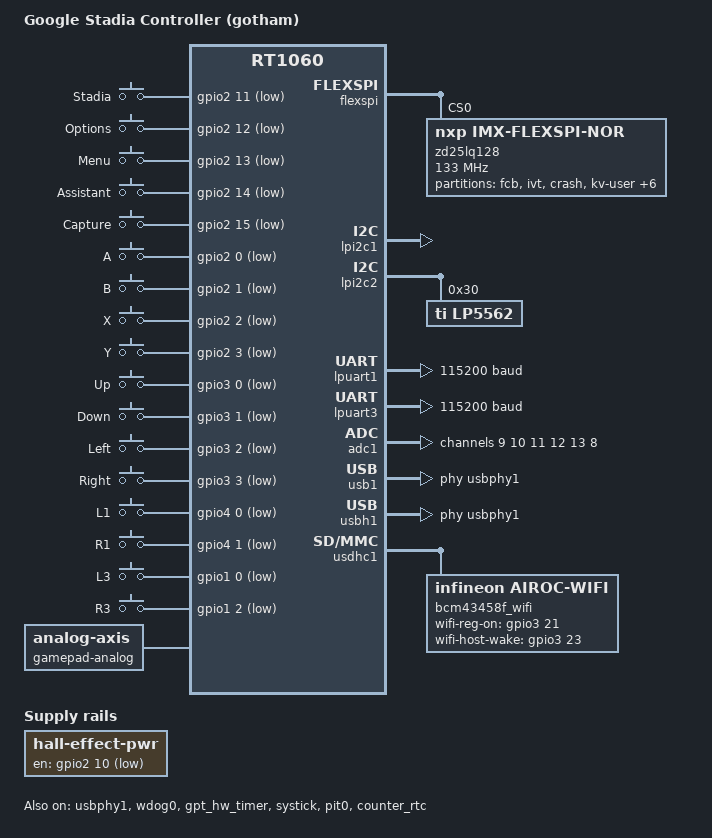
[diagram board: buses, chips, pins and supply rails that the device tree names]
/*
 * Copyright (c) 2026 Thomas Hebb
 *
 * SPDX-License-Identifier: Apache-2.0
 */

/dts-v1/;

#include <nxp/imxrt/nxp_rt1060.dtsi>
#include "google_gotham-pinctrl.dtsi"

#include <zephyr/dt-bindings/adc/adc.h>
#include <zephyr/dt-bindings/input/input-event-codes.h>

/ {
	model = "Google Stadia Controller (gotham)";
	compatible = "google,gotham";

	chosen {
		zephyr,itcm = &itcm;
		zephyr,dtcm = &dtcm;
		zephyr,console = &lpuart1;
		zephyr,shell-uart = &lpuart1;
		zephyr,flash-controller = &zd25lq128;
		zephyr,bt-hci = &bt_hci;
	};

	aliases {
		led0 = &lp5562;
		sw0 = &stadia_button;
		watchdog0 = &wdog0;
		sdhc0 = &usdhc1;
		rtc = &counter_rtc;
	};

	gamepad-digital {
		compatible = "gpio-keys";

		stadia_button: button-stadia {
			label = "Stadia";
			gpios = <&gpio2 11 (GPIO_PULL_UP | GPIO_ACTIVE_LOW)>;
			zephyr,code = <INPUT_BTN_MODE>;
		};

		button-options {
			label = "Options";
			gpios = <&gpio2 12 (GPIO_PULL_UP | GPIO_ACTIVE_LOW)>;
			zephyr,code = <INPUT_BTN_SELECT>;
		};

		button-menu {
			label = "Menu";
			gpios = <&gpio2 13 (GPIO_PULL_UP | GPIO_ACTIVE_LOW)>;
			zephyr,code = <INPUT_BTN_START>;
		};

		button-assistant {
			label = "Assistant";
			gpios = <&gpio2 14 (GPIO_PULL_UP | GPIO_ACTIVE_LOW)>;
			zephyr,code = <INPUT_BTN_TASK>;
		};

		button-capture {
			label = "Capture";
			gpios = <&gpio2 15 (GPIO_PULL_UP | GPIO_ACTIVE_LOW)>;
			zephyr,code = <INPUT_BTN_EXTRA>;
		};

		button-a {
			label = "A";
			gpios = <&gpio2 0 (GPIO_PULL_UP | GPIO_ACTIVE_LOW)>;
			zephyr,code = <INPUT_BTN_SOUTH>;
		};

		button-b {
			label = "B";
			gpios = <&gpio2 1 (GPIO_PULL_UP | GPIO_ACTIVE_LOW)>;
			zephyr,code = <INPUT_BTN_EAST>;
		};

		button-x {
			label = "X";
			gpios = <&gpio2 2 (GPIO_PULL_UP | GPIO_ACTIVE_LOW)>;
			zephyr,code = <INPUT_BTN_WEST>;
		};

		button-y {
			label = "Y";
			gpios = <&gpio2 3 (GPIO_PULL_UP | GPIO_ACTIVE_LOW)>;
			zephyr,code = <INPUT_BTN_NORTH>;
		};

		dpad-up {
			label = "Up";
			gpios = <&gpio3 0 (GPIO_PULL_UP | GPIO_ACTIVE_LOW)>;
			zephyr,code = <INPUT_BTN_DPAD_UP>;
		};

		dpad-down {
			label = "Down";
			gpios = <&gpio3 1 (GPIO_PULL_UP | GPIO_ACTIVE_LOW)>;
			zephyr,code = <INPUT_BTN_DPAD_DOWN>;
		};

		dpad-left {
			label = "Left";
			gpios = <&gpio3 2 (GPIO_PULL_UP | GPIO_ACTIVE_LOW)>;
			zephyr,code = <INPUT_BTN_DPAD_LEFT>;
		};

		dpad-right {
			label = "Right";
			gpios = <&gpio3 3 (GPIO_PULL_UP | GPIO_ACTIVE_LOW)>;
			zephyr,code = <INPUT_BTN_DPAD_RIGHT>;
		};

		button-l1 {
			label = "L1";
			gpios = <&gpio4 0 (GPIO_PULL_UP | GPIO_ACTIVE_LOW)>;
			zephyr,code = <INPUT_BTN_TL>;
		};

		button-r1 {
			label = "R1";
			gpios = <&gpio4 1 (GPIO_PULL_UP | GPIO_ACTIVE_LOW)>;
			zephyr,code = <INPUT_BTN_TR>;
		};

		button-l3 {
			label = "L3";
			gpios = <&gpio1 0 (GPIO_PULL_UP | GPIO_ACTIVE_LOW)>;
			zephyr,code = <INPUT_BTN_THUMBL>;
		};

		button-r3 {
			label = "R3";
			gpios = <&gpio1 2 (GPIO_PULL_UP | GPIO_ACTIVE_LOW)>;
			zephyr,code = <INPUT_BTN_THUMBR>;
		};
	};

	gamepad-analog {
		compatible = "analog-axis";
		poll-period-ms = <15>;

		axis-r3-x {
			io-channels = <&adc1 9>;
			in-deadzone = <200>;
			in-min = <0>;
			in-max = <3300>;
			zephyr,axis = <INPUT_ABS_RX>;
		};

		axis-r3-y {
			io-channels = <&adc1 10>;
			in-deadzone = <200>;
			in-min = <0>;
			in-max = <3300>;
			zephyr,axis = <INPUT_ABS_RY>;
		};

		axis-l3-x {
			io-channels = <&adc1 11>;
			in-deadzone = <200>;
			in-min = <0>;
			in-max = <3300>;
			zephyr,axis = <INPUT_ABS_X>;
		};

		axis-l3-y {
			io-channels = <&adc1 12>;
			in-deadzone = <200>;
			in-min = <0>;
			in-max = <3300>;
			zephyr,axis = <INPUT_ABS_Y>;
		};

		axis-l2 {
			io-channels = <&adc1 13>;
			in-min = <0>;
			in-max = <3300>;
			zephyr,axis = <INPUT_ABS_BRAKE>;
		};

		axis-r2 {
			io-channels = <&adc1 8>;
			in-min = <0>;
			in-max = <3300>;
			zephyr,axis = <INPUT_ABS_GAS>;
		};
	};

	hall-effect-pwr {
		compatible = "regulator-fixed";
		regulator-name = "hall-effect-pwr";
		enable-gpios = <&gpio2 10 GPIO_ACTIVE_LOW>;
		regulator-boot-on;
	};
};

&flexram {
	/*
	 * Reset FlexRAM to default layout (copied from fuses) because Google's
	 * bootloader sets a different layout and IOMUXC_GPR registers aren't
	 * reset when resetting into SDP from there.
	 */
	flexram,bank-spec = <FLEXRAM_OCRAM>,
			    <FLEXRAM_OCRAM>,
			    <FLEXRAM_OCRAM>,
			    <FLEXRAM_OCRAM>,
			    <FLEXRAM_DTCM>,
			    <FLEXRAM_DTCM>,
			    <FLEXRAM_ITCM>,
			    <FLEXRAM_ITCM>,
			    <FLEXRAM_ITCM>,
			    <FLEXRAM_ITCM>,
			    <FLEXRAM_DTCM>,
			    <FLEXRAM_DTCM>,
			    <FLEXRAM_OCRAM>,
			    <FLEXRAM_OCRAM>,
			    <FLEXRAM_OCRAM>,
			    <FLEXRAM_OCRAM>;
};

&flexspi {
	reg = <0x402a8000 0x4000>, <0x60000000 DT_SIZE_M(16)>;
	pinctrl-0 = <&pinmux_flexspi>;
	pinctrl-names = "default";
	ahb-prefetch;
	ahb-read-addr-opt;
	rx-clock-source = <1>;

	status = "okay";

	zd25lq128: zd25lq128@0 {
		compatible = "nxp,imx-flexspi-nor";
		reg = <0>;
		ranges = <0x0 0x60000000 DT_SIZE_M(16)>;
		size = <DT_SIZE_M(16 * 8)>;
		#address-cells = <1>;
		#size-cells = <1>;

		spi-max-frequency = <DT_FREQ_M(133)>;
		jedec-id = [c8 60 18];
		erase-block-size = <DT_SIZE_K(4)>;
		write-block-size = <1>;

		status = "okay";

		partitions {
			compatible = "fixed-partitions";
			ranges;
			#address-cells = <1>;
			#size-cells = <1>;

			/* Flash Configuration Block */
			partition@0 {
				label = "fcb";
				reg = <0x000000 DT_SIZE_K(4)>;
			};

			/* Image Vector Table */
			partition@1000 {
				label = "ivt";
				reg = <0x001000 DT_SIZE_K(4)>;
			};

			/* Encrypted JSON crash logs */
			partition@6000 {
				label = "crash";
				reg = <0x006000 DT_SIZE_K(136)>;
			};

			/* Encrypted Key/Value Store for user configuration */
			kv_user_partition: partition@28000 {
				label = "kv-user";
				reg = <0x028000 DT_SIZE_K(32)>;
			};

			/* Encrypted Key/Value Store for immutable device metadata */
			kv_factory_partition: partition@38000 {
				label = "kv-factory";
				reg = <0x038000 DT_SIZE_K(16)>;
			};

			partition@3c000 {
				label = "kv-boot";
				reg = <0x03c000 DT_SIZE_K(16)>;
			};

			slot_a_partition: partition@40000 {
				label = "slot-a";
				reg = <0x040000 (DT_SIZE_M(8) - DT_SIZE_K(256))>;
			};

			partition@800000 {
				label = "boot-a";
				reg = <0x800000 DT_SIZE_K(128)>;
			};

			partition@820000 {
				label = "boot-b";
				reg = <0x820000 DT_SIZE_K(128)>;
			};

			slot_b_partition: partition@840000 {
				label = "slot-b";
				reg = <0x840000 (DT_SIZE_M(8) - DT_SIZE_K(256))>;
			};
		};
	};
};

&lpi2c1 {
	pinctrl-0 = <&pinmux_lpi2c1>;
	pinctrl-names = "default";

	// TODO: devices

	status = "okay";
};

&lpi2c2 {
	pinctrl-0 = <&pinmux_lpi2c2>;
	pinctrl-names = "default";

	status = "okay";

	lp5562: leds@30 {
		compatible = "ti,lp5562";
		reg = <0x30>;

		status = "okay";
	};
};

&lpuart1 {
	pinctrl-0 = <&pinmux_lpuart1>;
	pinctrl-names = "default";
	current-speed = <115200>;

	status = "okay";
};

&lpuart3 {
	pinctrl-0 = <&pinmux_lpuart3>;
	pinctrl-1 = <&pinmux_lpuart3_flow_control>;
	pinctrl-names = "default", "flowcontrol";
	current-speed = <115200>;
	hw-flow-control;

	status = "okay";

	bt_hci: bluetooth {
		compatible = "zephyr,bt-hci-uart";

		status = "okay";

		bcm43458f_bt {
			compatible = "infineon,bt-hci-uart";
			status = "okay";

			bt-reg-on-gpios = <&gpio3 20 GPIO_ACTIVE_HIGH>;
			// TODO: bt-dev-wake-gpios?
			fw-download-speed = <4000000>;
			hci-operation-speed = <4000000>;
		};
	};
};

&adc1 {
	pinctrl-0 = <&pinmux_joysticks>;
	pinctrl-names = "default";
	#address-cells = <1>;
	#size-cells = <0>;

	status = "okay";

	r3_x: channel@9 {
		reg = <9>;
		zephyr,gain = "ADC_GAIN_1";
		zephyr,reference = "ADC_REF_INTERNAL";
		zephyr,acquisition-time = <ADC_ACQ_TIME_DEFAULT>;
		zephyr,resolution = <12>;
	};

	r3_y: channel@a {
		reg = <10>;
		zephyr,gain = "ADC_GAIN_1";
		zephyr,reference = "ADC_REF_INTERNAL";
		zephyr,acquisition-time = <ADC_ACQ_TIME_DEFAULT>;
		zephyr,resolution = <12>;
	};

	l3_x: channel@b {
		reg = <11>;
		zephyr,gain = "ADC_GAIN_1";
		zephyr,reference = "ADC_REF_INTERNAL";
		zephyr,acquisition-time = <ADC_ACQ_TIME_DEFAULT>;
		zephyr,resolution = <12>;
	};

	l3_y: channel@c {
		reg = <12>;
		zephyr,gain = "ADC_GAIN_1";
		zephyr,reference = "ADC_REF_INTERNAL";
		zephyr,acquisition-time = <ADC_ACQ_TIME_DEFAULT>;
		zephyr,resolution = <12>;
	};

	l2: channel@d {
		reg = <13>;
		zephyr,gain = "ADC_GAIN_1";
		zephyr,reference = "ADC_REF_INTERNAL";
		zephyr,acquisition-time = <ADC_ACQ_TIME_DEFAULT>;
		zephyr,resolution = <12>;
	};

	r2: channel@8 {
		reg = <8>;
		zephyr,gain = "ADC_GAIN_1";
		zephyr,reference = "ADC_REF_INTERNAL";
		zephyr,acquisition-time = <ADC_ACQ_TIME_DEFAULT>;
		zephyr,resolution = <12>;
	};
};

zephyr_udc0: &usb1 {
	phy-handle = <&usbphy1>;

	status = "okay";
};

zephyr_uhc0: &usbh1 {
	phy-handle = <&usbphy1>;

	status = "okay";
};

&usbphy1 {
	tx-d-cal = <6>;
	tx-cal-45-dp-ohms = <3>;
	tx-cal-45-dm-ohms = <3>;

	status = "okay";
};

&usdhc1 {
	pinctrl-0 = <&pinmux_usdhc1>;
	pinctrl-names = "default";

	/* Broadcom backplane writes fail above ~100MHz or with DDR. */
	max-bus-freq = <DT_FREQ_M(50)>;

	status = "okay";

	bcm43458f_wifi {
		compatible = "infineon,airoc-wifi";
		wifi-reg-on-gpios = <&gpio3 21 GPIO_ACTIVE_HIGH>;
		wifi-host-wake-gpios = <&gpio3 23 GPIO_ACTIVE_HIGH>;

		status = "okay";
	};
};

&edma0 {
	status = "okay";
};

&wdog0 {
	status = "okay";
};

// TODO
#if 0
&sai1 {
	pinctrl-0 = <&pinmux_sai1>;
	pinctrl-names = "default";

	status = "okay";
};
#endif

&gpt_hw_timer {
	status = "okay";
};

&systick {
	status = "okay";
};

&iomuxcgpr {
	status = "okay";
};

&pit0 {
	status = "okay";
};

&counter_rtc {
	status = "okay";
};
